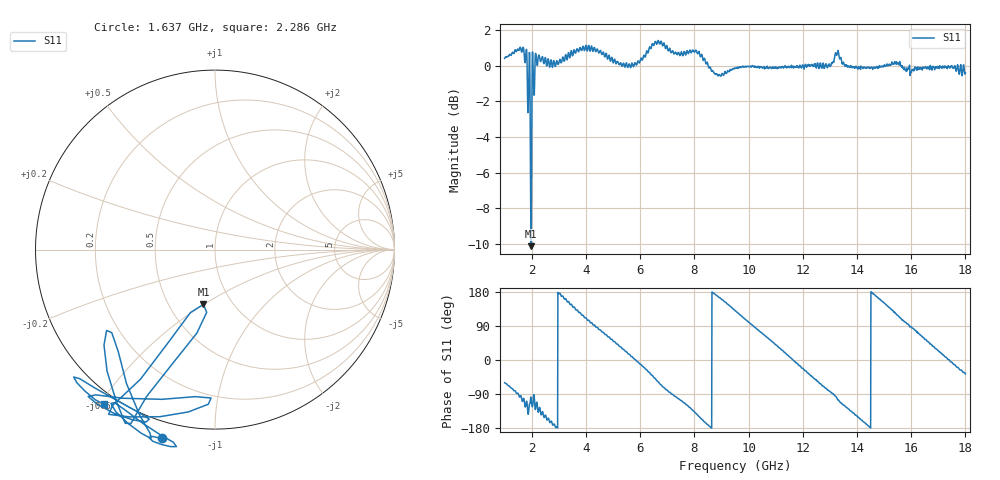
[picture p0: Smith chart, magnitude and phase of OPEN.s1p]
!Keysight Technologies N9917A: A.09.53
!Date: Thursday, 10 October 2019 13:33:40
!TimeZone: (UTC-08:00) Pacific Time (US & Canada)!Model: N9917A
!Serial: MY56072049
!GPS Latitude:
!GPS Longitude:
!GPS TimeStamp: 0001-01-01 00:00:00Z
!GPS Seconds Since Last Read: 0
!CHECKSUM:1696395845
!Correction: S11(ON U)
!S1P File: Measurement: S11:
# Hz S DB R 50
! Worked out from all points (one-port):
!   1601 points, 1 GHz to 18 GHz, reference 50 ohm
!   lowest |S11| = -10.1 dB at 1.978 GHz (marker M1), VSWR 1.91, Z = 36.8 - j24.9 ohm
!   |S11| at or under -10 dB: 1.976292 GHz to 1.978279 GHz (1.987 MHz wide, 0.1 % of centre)
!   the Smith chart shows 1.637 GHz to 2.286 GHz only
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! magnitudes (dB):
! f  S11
! 1 GHz  0.4
! 1.521 GHz  0.9
! 1.733 GHz  0.4
! 1.808 GHz  0.9
! 1.85 GHz  -2.1
! 1.871 GHz  -2.5
! 1.914 GHz  0.7
! 1.978 GHz  -10.1
! 2.031 GHz  0.8
! 2.094 GHz  -1.7
! 2.211 GHz  0.0
! 2.711 GHz  0.3
! 3.125 GHz  0.3
! 4.049 GHz  0.8
! 5.25 GHz  0.1
! 5.919 GHz  0.3
! 6.61 GHz  1.2
! 7.375 GHz  0.6
! 8.108 GHz  0.7
! 8.905 GHz  -0.5
! 9.5 GHz  -0.2
! 11.62 GHz  -0.1
! 12.96 GHz  0.1
! 13.26 GHz  0.6
! 13.75 GHz  -0.1
! 15.46 GHz  0.2
! 15.88 GHz  -0.2
! 18 GHz  -0.4
